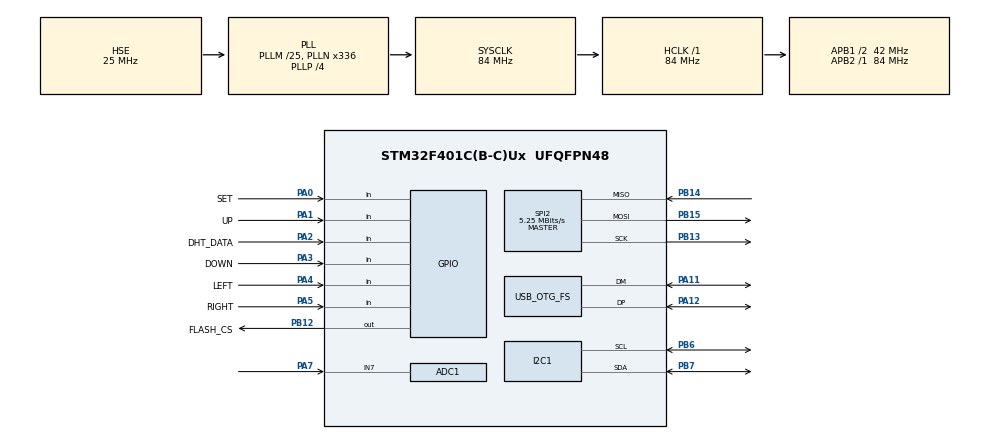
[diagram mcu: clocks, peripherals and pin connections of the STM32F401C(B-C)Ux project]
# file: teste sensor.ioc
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ADC1.Channel-0\#ChannelRegularConversion=ADC_CHANNEL_7
ADC1.Channel-1\#ChannelInjectedConversion=ADC_CHANNEL_7
ADC1.InjNumberOfConversion=1
ADC1.InjectedOffset-1\#ChannelInjectedConversion=0
ADC1.InjectedRank-1\#ChannelInjectedConversion=1
ADC1.NbrOfConversionFlag=1
ADC1.Rank-0\#ChannelRegularConversion=1
ADC1.SamplingTime-0\#ChannelRegularConversion=ADC_SAMPLETIME_3CYCLES
ADC1.SamplingTime-1\#ChannelInjectedConversion=ADC_SAMPLETIME_3CYCLES
ADC1.master=1
FATFS._MAX_SS=4096
FATFS._USE_LFN=1
Mcu.Family=STM32F4
Mcu.Name=STM32F401C(B-C)Ux
Mcu.Package=UFQFPN48
NVIC.ADC_IRQn=true\:0\:0\:false\:false\:true\:true\:true\:true
NVIC.OTG_FS_IRQn=true\:0\:0\:false\:false\:true\:false\:true\:true
NVIC.PriorityGroup=NVIC_PRIORITYGROUP_4
NVIC.TIM2_IRQn=true\:5\:0\:true\:false\:true\:true\:true\:true
PA0-WKUP.GPIO_Label=SET
PA0-WKUP.GPIO_PuPd=GPIO_PULLUP
PA0-WKUP.Signal=GPIO_Input
PA1.GPIO_Label=UP
PA1.GPIO_PuPd=GPIO_PULLUP
PA1.Signal=GPIO_Input
PA11.Mode=Host_Only
PA11.Signal=USB_OTG_FS_DM
PA12.Mode=Host_Only
PA12.Signal=USB_OTG_FS_DP
PA13.Mode=Serial_Wire
PA13.Signal=SYS_JTMS-SWDIO
PA14.Mode=Serial_Wire
PA14.Signal=SYS_JTCK-SWCLK
PA2.GPIO_Label=DHT_DATA
PA2.Signal=GPIO_Input
PA3.GPIO_Label=DOWN
PA3.GPIO_PuPd=GPIO_PULLUP
PA3.Signal=GPIO_Input
PA4.GPIO_Label=LEFT
PA4.GPIO_PuPd=GPIO_PULLUP
PA4.Signal=GPIO_Input
PA5.GPIO_Label=RIGHT
PA5.GPIO_PuPd=GPIO_PULLUP
PA5.Signal=GPIO_Input
PA7.Signal=ADCx_IN7
PB12.GPIO_Label=FLASH_CS
PB12.GPIO_Speed=GPIO_SPEED_FREQ_VERY_HIGH
PB12.PinState=GPIO_PIN_SET
PB12.Signal=GPIO_Output
PB13.Mode=Full_Duplex_Master
PB13.Signal=SPI2_SCK
PB14.Mode=Full_Duplex_Master
PB14.Signal=SPI2_MISO
PB15.Mode=Full_Duplex_Master
PB15.Signal=SPI2_MOSI
PB6.Mode=I2C
PB6.Signal=I2C1_SCL
PB7.Mode=I2C
PB7.Signal=I2C1_SDA
PH0\ -\ OSC_IN.Mode=HSE-External-Oscillator
PH0\ -\ OSC_IN.Signal=RCC_OSC_IN
PH1\ -\ OSC_OUT.Mode=HSE-External-Oscillator
PH1\ -\ OSC_OUT.Signal=RCC_OSC_OUT
ProjectManager.HeapSize=0x200
ProjectManager.StackSize=0x400
ProjectManager.TargetToolchain=STM32CubeIDE
RCC.48MHZClocksFreq_Value=48000000
RCC.AHBFreq_Value=84000000
RCC.APB1CLKDivider=RCC_HCLK_DIV2
RCC.APB1Freq_Value=42000000
RCC.APB1TimFreq_Value=84000000
RCC.APB2Freq_Value=84000000
RCC.APB2TimFreq_Value=84000000
RCC.CortexFreq_Value=84000000
RCC.HCLKFreq_Value=84000000
RCC.HSE_VALUE=25000000
RCC.HSI_VALUE=16000000
RCC.LSE_VALUE=32768
RCC.PLLM=25
RCC.PLLN=336
RCC.PLLP=RCC_PLLP_DIV4
RCC.PLLQ=7
RCC.SYSCLKFreq_VALUE=84000000
RCC.SYSCLKSource=RCC_SYSCLKSOURCE_PLLCLK
RCC.VCOOutputFreq_Value=336000000
SH.ADCx_IN7.0=ADC1_IN7,IN7
SPI2.BaudRatePrescaler=SPI_BAUDRATEPRESCALER_8
SPI2.CalculateBaudRate=5.25 MBits/s
SPI2.Direction=SPI_DIRECTION_2LINES
SPI2.Mode=SPI_MODE_MASTER
SPI2.VirtualType=VM_MASTER
TIM2.AutoReloadPreload=TIM_AUTORELOAD_PRELOAD_ENABLE
TIM2.Period=999
USB_HOST.SW_VBUS_DRIVE_MSC_FS=true
USB_HOST.USBH_HandleTypeDef=hUsbHostFS
USB_HOST.VirtualModeFS=Msc
USB_OTG_FS.VirtualMode=Host_Only
USB_OTG_FS.phy_itface=HCD_PHY_EMBEDDED
VP_FATFS_VS_USB.Mode=USB
VP_TIM2_VS_ClockSourceINT.Mode=Internal
VP_USB_HOST_VS_USB_HOST_MSC_FS.Mode=MSC_FS
board=custom

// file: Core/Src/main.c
/* USER CODE BEGIN Header */
/**
  ******************************************************************************
  * @file           :  main.c
  * @brief          : Weather Station - 30m/1h + Modo Teste + Bateria
  ******************************************************************************
  */
/* USER CODE END Header */
#include "main.h"
#include "fatfs.h"
#include "usb_host.h"
#include "i18n.h"
#include "pad20.h"

/* USER CODE BEGIN Includes */
#include "data_buffer.h"
#include "bmp180.h"
#include "dht11.h"
#include "ds3231.h"
#include "lcd_i2c.h"
#include "usb_datalogger.h"
#include "w25qxx.h"
#include <stdio.h>
#include <math.h>
#include "menu.h"
#include "usbh_core.h"
#include <string.h>
/* USER CODE END Includes */

/* USER CODE BEGIN PD */

// ✅ Config setor (4KB) - NÃO usar erase+1byte
#define CONFIG_SECTOR_ADDRESS   0x3FF000u
//#define W25Q_LOG_STATE_ADDR (W25Q32_CAPACITY - 1*W25Q32_SECTOR_SIZE) // 0x3FF000
#define CONFIG_ACQ_OFFSET       0u
#define CONFIG_LANG_OFFSET      4u
#define CONFIG_ALT_OFFSET       8u   // int16_t (2 bytes). usa 8..9
#define BATTERY_ADC_CHANNEL ADC_CHANNEL_7    // Ajuste para PA7, ADC1_IN7
#define BATTERY_VREF 3.3f
#define BATTERY_ADC_MAX 4095.0f
#define BATTERY_VOLTAGE_DIVIDER 2.0f   // Divisor 10k/10k = metade
#define BATTERY_FULL    4.2f
#define BATTERY_EMPTY   3.0f
#define DEFAULT_ALTITUDE_M  11
/* USER CODE END PD */

ADC_HandleTypeDef hadc1;
I2C_HandleTypeDef hi2c1;
SPI_HandleTypeDef hspi2;
TIM_HandleTypeDef htim2;
/* USER CODE BEGIN PV */
BMP180_t bmp180;
DHT11_t dht11;
DS3231_Time_t rtc_time;
LCD_I2C_t lcd;
USB_DataLogger_t datalogger;
W25Q_t flash;

uint32_t acquisition_interval_ms = 3600000;
uint32_t total_samples_saved = 0;
static uint32_t last_dht_read = 0;
static uint8_t last_humidity = 0;
uint32_t last_display_update = 0;
uint32_t display_update_interval = 1000;
float last_temp = 0;
float last_press_abs = 0;
float last_press_sea = 0;
uint8_t last_battery_percent = 0;
Menu_t menu;
uint8_t usb_menu_active = 0;
uint8_t usb_menu_selection = 0;
uint8_t usb_was_connected = 0;

const AcqTimeConfig_t acq_time_options[ACQ_TOTAL_OPTIONS] = {
    {ACQ_30M,  1800000,  "30m"},
    {ACQ_1H,   3600000,  "1h"}
};
AcquisitionTime_t current_acq_time = ACQ_1H;
extern ApplicationTypeDef Appli_state;

// ✅ idioma atual (persistido na flash)
uint8_t current_language = LANG_PT;
int16_t current_altitude_m = DEFAULT_ALTITUDE_M;
/* USER CODE END PV */

void SystemClock_Config(void);
static void MX_GPIO_Init(void);
static void MX_I2C1_Init(void);
static void MX_TIM2_Init(void);
static void MX_SPI2_Init(void);
static void MX_ADC1_Init(void);
void MX_USB_HOST_Process(void);

/* USER CODE BEGIN 0 */

void float_to_string(char *str, float value, uint8_t decimal_places) {
    int int_part = (int)value;
    int dec_part = (int)((value - int_part) * 100);
    if (dec_part < 0) dec_part = -dec_part;
    if (decimal_places == 1) {
        dec_part /= 10;
        sprintf(str, "%d.%d", int_part, dec_part);
    } else {
        sprintf(str, "%d.%02d", int_part, dec_part);
    }
}

float CalculateSeaLevelPressure(float pressure_hpa, float altitude_m) {
    return pressure_hpa + (altitude_m / 8.3f);
}

static void RTC_ApplyDefaultIfInvalid(void)
{
    DS3231_Time_t t;
    DS3231_GetTime(&hi2c1, &t);

    int invalid =
        (t.year < 2024 || t.year > 2099) ||
        (t.month < 1 || t.month > 12) ||
        (t.date < 1 || t.date > 31) ||
        (t.hours > 23) || (t.minutes > 59) || (t.seconds > 59);

    if (invalid) {
        DS3231_Time_t def = {0};
        def.date = 15;
        def.month = 6;
        def.year = 2026;
        def.hours = 0;
        def.minutes = 0;
        def.seconds = 0;

        DS3231_SetTime(&hi2c1, &def);

        // opcional, mas recomendado: já atualiza o que vai para o display
        rtc_time = def;
    }
}

void UpdateDisplay(DS3231_Time_t *time, float temp, float press_abs, float press_sea, uint8_t humidity, uint8_t battery_percent, USB_State_t usb_state) {
    char buffer[25];
    char value_str[12];
    LCD_SetCursor(&lcd, 0, 0);
    sprintf(buffer, "%02d/%02d/%04d %02d:%02d:%02d",
            time->date, time->month, time->year,
            time->hours, time->minutes, time->seconds);
    buffer[20] = '\0';
    LCD_Print(&lcd, buffer);

    // ===== Linha 2 =====
    LCD_SetCursor(&lcd, 0, 1);
    float_to_string(value_str, temp, 1);

    snprintf(buffer, sizeof(buffer), I18N(TXT_MAIN_LINE2_FMT, current_language),
             value_str, humidity, battery_percent);
   // while (strlen(buffer) < 20) strcat(buffer, " ");

   // buffer[20] = '\0';
    // Agora vamos imprimir: "T:<temp>" + "°C" + " resto"
    LCD_Print(&lcd, "T:");
    LCD_Print(&lcd, value_str);
    LCD_SendData(&lcd, 0);     // ° (slot 0)
    LCD_Print(&lcd, "C");

    // imprime o resto: pega a string pronta e pula o começo "T:<temp>"
    size_t prefix_len = 2 + strlen(value_str); // "T:" + tempStr
    LCD_Print(&lcd, buffer + prefix_len);

    // completa até 20 colunas
    // (mais simples: pad no buffer original e depois reimprime tudo não dá, então preenche espaço na mão)
    int used = 2 + (int)strlen(value_str) + 2 + (int)strlen(buffer + prefix_len); // +2 = ° + C
    while (used < 20) { LCD_SendData(&lcd, ' '); used++; }

    // ===== Linha 3 =====

    LCD_SetCursor(&lcd, 0, 2);
        char sea_str[12];
        char abs_str[12];
        float_to_string(sea_str, press_sea, 1);
        float_to_string(abs_str, press_abs, 1);
        snprintf(buffer, sizeof(buffer), I18N(TXT_MAIN_LINE3_FMT, current_language),
                 sea_str, abs_str);
       // while (strlen(buffer) < 20) strcat(buffer, " ");
      //  buffer[20] = '\0';
        Pad20(buffer, sizeof(buffer));
        LCD_Print(&lcd, buffer);

        // ===== Linha 4 =====
        LCD_SetCursor(&lcd, 0, 3);
        snprintf(buffer, sizeof(buffer), I18N(TXT_MAIN_LINE4_FMT, current_language),
                 (unsigned long)total_samples_saved,
                 acq_time_options[current_acq_time].display_text);
        Pad20(buffer, sizeof(buffer));
       // while (strlen(buffer) < 20) strcat(buffer, " ");
      //  buffer[20] = '\0';
        LCD_Print(&lcd, buffer);

}

// =========================
// ✅ Config Sector Helpers
// =========================
static void ConfigSector_Read(uint8_t *buf4096) {
    W25Q_ReadData(&flash, CONFIG_SECTOR_ADDRESS, buf4096, W25Q32_SECTOR_SIZE);
}

static void ConfigSector_Write(const uint8_t *buf4096) {
    W25Q_EraseSector(&flash, CONFIG_SECTOR_ADDRESS);

    for (uint32_t off = 0; off < W25Q32_SECTOR_SIZE; off += W25Q32_PAGE_SIZE) {
        W25Q_WritePage(&flash, CONFIG_SECTOR_ADDRESS + off, (uint8_t*)(buf4096 + off), W25Q32_PAGE_SIZE);
    }
}

// =========================
// ✅ Idioma na flash
// =========================
void SaveLanguageToFlash(uint8_t lang) {
    if (lang >= LANG_TOTAL) lang = LANG_PT;

    uint8_t buf[W25Q32_SECTOR_SIZE];
    ConfigSector_Read(buf);
    buf[CONFIG_LANG_OFFSET] = lang;
    ConfigSector_Write(buf);
}

uint8_t LoadLanguageFromFlash(void) {
    uint8_t buf[W25Q32_SECTOR_SIZE];
    ConfigSector_Read(buf);

    uint8_t lang = buf[CONFIG_LANG_OFFSET];
    if (lang == 0xFF || lang >= LANG_TOTAL) {
        return LANG_PT;
    }
    return lang;
}

void SaveAltitudeToFlash(int16_t alt_m)
{
    if (alt_m < 0) alt_m = 0;
    if (alt_m > 5000) alt_m = 5000;

    uint8_t buf[W25Q32_SECTOR_SIZE];
    ConfigSector_Read(buf);

    memcpy(&buf[CONFIG_ALT_OFFSET], &alt_m, sizeof(alt_m));

    ConfigSector_Write(buf);
}

int16_t LoadAltitudeFromFlash(void)
{
    uint8_t buf[W25Q32_SECTOR_SIZE];
    ConfigSector_Read(buf);

    int16_t alt_m;
    memcpy(&alt_m, &buf[CONFIG_ALT_OFFSET], sizeof(alt_m));

    // se estiver "virgem" (0xFF 0xFF = -1) ou fora da faixa
    if (alt_m < 0 || alt_m > 5000) return DEFAULT_ALTITUDE_M;
    return alt_m;
}

// =========================
// ✅ Aquisição na flash (sem apagar idioma)
// =========================
void SaveAcquisitionTimeToFlash(AcquisitionTime_t time) {
    uint8_t buf[W25Q32_SECTOR_SIZE];
    ConfigSector_Read(buf);

    buf[CONFIG_ACQ_OFFSET] = (uint8_t)time;

    ConfigSector_Write(buf);
}

AcquisitionTime_t LoadAcquisitionTimeFromFlash(void) {
    uint8_t buf[W25Q32_SECTOR_SIZE];
    ConfigSector_Read(buf);

    uint8_t data = buf[CONFIG_ACQ_OFFSET];
    if (data == 0xFF || data >= ACQ_TOTAL_OPTIONS) {
        return ACQ_1H;
    }
    return (AcquisitionTime_t)data;
}

void ApplyAcquisitionTime(AcquisitionTime_t time) {
    current_acq_time = time;
    acquisition_interval_ms = acq_time_options[time].milliseconds;
}

// FUNÇÕES DE BATERIA
float ReadBatteryVoltage(void) {
    uint32_t adc_value = 0;
    for (uint8_t i = 0; i < 10; i++) {
        HAL_ADC_Start(&hadc1);
        HAL_ADC_PollForConversion(&hadc1, 100);
        adc_value += HAL_ADC_GetValue(&hadc1);
        HAL_ADC_Stop(&hadc1);
    }
    adc_value /= 10;
    float voltage = ((float)adc_value / BATTERY_ADC_MAX) * BATTERY_VREF * BATTERY_VOLTAGE_DIVIDER;
    return voltage;
}

uint8_t CalculateBatteryPercent(float voltage) {
    if (voltage >= BATTERY_FULL) return 100;
    if (voltage <= BATTERY_EMPTY) return 0;
    float percent = ((voltage - BATTERY_EMPTY) / (BATTERY_FULL - BATTERY_EMPTY)) * 100.0f;
    return (uint8_t)percent;
}

void RunTestMode(void) {
    LCD_Clear(&lcd);
    LCD_SetCursor(&lcd, 0, 0);
    LCD_Print(&lcd, I18N(TXT_TEST_MODE_TITLE, current_language));
    LCD_SetCursor(&lcd, 0, 1);
    LCD_Print(&lcd, I18N(TXT_TEST_MODE_SUBTITLE, current_language));
    LCD_SetCursor(&lcd, 0, 2);
    LCD_Print(&lcd, I18N(TXT_STARTING, current_language));
    HAL_Delay(2000);

    LCD_Clear(&lcd);
    LCD_SetCursor(&lcd, 0, 0);
    LCD_Print(&lcd, I18N(TXT_TEST_MODE_TITLE, current_language));
    uint32_t last_sample_time = HAL_GetTick();

    // sempre sobrescreve o teste antigo
    W25Q_TestReset(&flash);

    for (uint8_t i = 0; i < 10; i++) {
        if (i > 0) {
            while ((HAL_GetTick() - last_sample_time) < 5000) {
                HAL_Delay(10);
            }
        }
        last_sample_time = HAL_GetTick();

        float temp = BMP180_ReadTemperature(&bmp180);
        float pressure = BMP180_ReadPressure(&bmp180);

        uint32_t now = HAL_GetTick();
        uint8_t humidity = last_humidity;
        if (now - last_dht_read >= 5000) {
            if (DHT11_Read(&dht11)) {
                humidity = dht11.humidity;
                last_humidity = humidity;
            }
            last_dht_read = now;
        }

        float battery_voltage = ReadBatteryVoltage();
        uint8_t battery_percent = CalculateBatteryPercent(battery_voltage);
        last_battery_percent = battery_percent;

        DS3231_Time_t current_time;
        DS3231_GetTime(&hi2c1, &current_time);

        DataSample_t sample;
        sample.temperature = temp;
        sample.pressure = pressure;
        sample.humidity = humidity;
        sample.battery_percent = battery_percent;
        memcpy(&sample.timestamp, &current_time, sizeof(DS3231_Time_t));

        W25Q_WriteTestSample(&flash, (uint8_t*)&sample, sizeof(DataSample_t));
        W25Q_TestState_Save(&flash);

        char msg[25];

        LCD_SetCursor(&lcd, 0, 1);
        snprintf(msg, sizeof(msg), I18N(TXT_SAMPLE_FMT, current_language), (int)(i + 1));
      //  while (strlen(msg) < 20) strcat(msg, " ");
       // msg[20] = '\0';
        Pad20(msg, sizeof(msg));
        LCD_Print(&lcd, msg);

      /*  LCD_SetCursor(&lcd, 0, 2);
        snprintf(msg, sizeof(msg), "T: %.1fC P:%.1fhPa", temp, pressure);
       // while (strlen(msg) < 20) strcat(msg, " ");
       // msg[20] = '\0';
        Pad20(msg, sizeof(msg));
        LCD_Print(&lcd, msg);*/

        LCD_SetCursor(&lcd, 0, 2);

        char left[25];
        char right[25];

        snprintf(left, sizeof(left), "T:%.1f", temp);
        snprintf(right, sizeof(right), "C P:%.1fhPa", pressure);

        // imprime "T: 25.3"
        LCD_Print(&lcd, left);

        // imprime o char custom (slot 0)
        LCD_SendData(&lcd, 0);   // <-- esse é o "°"

        // imprime "C P:1013.2hPa"
        LCD_Print(&lcd, right);

        // completa com espaços até 20 colunas (opcional)
        char line[25];
        snprintf(line, sizeof(line), "%s", ""); // só pra usar Pad20 se você quiser em uma linha única

        LCD_SetCursor(&lcd, 0, 3);
        snprintf(msg, sizeof(msg), "H:%d%% B:%d%% ", humidity, battery_percent);
       // while (strlen(msg) < 20) strcat(msg, " ");
       // msg[20] = '\0';
        Pad20(msg, sizeof(msg));
        LCD_Print(&lcd, msg);
    }

    LCD_Clear(&lcd);
    LCD_SetCursor(&lcd, 0, 1);
    LCD_Print(&lcd, I18N(TXT_TEST_DONE, current_language));
    LCD_SetCursor(&lcd, 0, 2);
    LCD_Print(&lcd, I18N(TXT_TEST_OK_10, current_language));

    HAL_Delay(3000);
    menu.state = MENU_STATE_IDLE;
    LCD_Clear(&lcd);
}

/* USER CODE END 0 */

int main(void)
{
  HAL_Init();
  SystemClock_Config();
  MX_GPIO_Init();
  MX_I2C1_Init();
  MX_FATFS_Init();
  MX_USB_HOST_Init();
  MX_TIM2_Init();
  MX_SPI2_Init();
  MX_ADC1_Init();

  /* USER CODE BEGIN 2 */

  // LCD / RTC init inicial
  LCD_Init(&lcd, &hi2c1, 20, 4); LCD_Clear(&lcd); LCD_Backlight(&lcd, 1);
  // Grau "°" (5x8). Ajuste se quiser mais redondo.
  static const uint8_t DEGREE_CHAR[8] = {
      0b00110,
      0b01001,
      0b01001,
      0b00110,
      0b00000,
      0b00000,
      0b00000,
      0b00000
  };

  LCD_CreateChar(&lcd, 0, DEGREE_CHAR); // salva no slot 0

  DS3231_Init(&hi2c1);

  LCD_SetCursor(&lcd, 0, 0); LCD_Print(&lcd, "    <  CIDEPE  >  ");
  LCD_SetCursor(&lcd, 0, 1); LCD_Print(&lcd, "       EQ410A   ");
  LCD_SetCursor(&lcd, 0, 2); LCD_Print(&lcd, "       v1.0  ");
  HAL_Delay(2000);

  LCD_Clear(&lcd); LCD_SetCursor(&lcd, 0, 0); LCD_Print(&lcd, "Init Flash W25Q32...");
  W25Q_Init(&flash, &hspi2, GPIOB, GPIO_PIN_12); HAL_Delay(50);

  // ✅ carrega idioma primeiro (usa setor config)

  current_language = LoadLanguageFromFlash();
  current_altitude_m = LoadAltitudeFromFlash();

  // ✅ agora sim inicializa menu (pra pegar idioma atual)
  Menu_Init(&menu); HAL_Delay(1000);

  // carregar estado normal e teste (se não existir, zera)
  if (!W25Q_LogState_Load(&flash)) {
      flash.current_address = 0;
      flash.total_samples = 0;
  }
  if (!W25Q_TestState_Load(&flash)) {
      flash.test_current_address = W25Q_TEST_DATA_ADDR;
      flash.test_total_samples = 0;
  }

  total_samples_saved = W25Q_GetTotalSamples(&flash);

  uint8_t cmd_reset1 = 0x66; uint8_t cmd_reset2 = 0x99;
  HAL_GPIO_WritePin(GPIOB, GPIO_PIN_12, GPIO_PIN_RESET);
  HAL_SPI_Transmit(&hspi2, &cmd_reset1, 1, 100);
  HAL_GPIO_WritePin(GPIOB, GPIO_PIN_12, GPIO_PIN_SET); HAL_Delay(10);
  HAL_GPIO_WritePin(GPIOB, GPIO_PIN_12, GPIO_PIN_RESET);
  HAL_SPI_Transmit(&hspi2, &cmd_reset2, 1, 100);
  HAL_GPIO_WritePin(GPIOB, GPIO_PIN_12, GPIO_PIN_SET); HAL_Delay(100);

  uint8_t jedec_cmd = 0x9F;
  uint8_t jedec_data[3] = {0};
  HAL_GPIO_WritePin(GPIOB, GPIO_PIN_12, GPIO_PIN_RESET);
  HAL_SPI_Transmit(&hspi2, &jedec_cmd, 1, 100);
  HAL_SPI_Receive(&hspi2, jedec_data, 3, 100);
  HAL_GPIO_WritePin(GPIOB, GPIO_PIN_12, GPIO_PIN_SET);

  LCD_SetCursor(&lcd, 0, 1);
  if (jedec_data[0] == 0xEF && jedec_data[2] == 0x16) {
      LCD_Print(&lcd, "W25Q32 OK!   (4MB)");
  } else if (jedec_data[0] == 0xEF && jedec_data[2] == 0x15) {
      LCD_Print(&lcd, "W25Q16 OK!  (2MB)");
  } else if (jedec_data[0] == 0xEF) {
      char msg[25]; sprintf(msg, " Winbond 0x%02X OK!   ", jedec_data[2]); LCD_Print(&lcd, msg);
  } else {
      char msg[25]; sprintf(msg, " Flash: %02X %02X %02X", jedec_data[0], jedec_data[1], jedec_data[2]); LCD_Print(&lcd, msg);
  }
  HAL_Delay(2000);

  LCD_SetCursor(&lcd, 0, 2); LCD_Print(&lcd, I18N(TXT_BOOT_LOADING_CONFIG, current_language));
  current_acq_time = LoadAcquisitionTimeFromFlash();
  ApplyAcquisitionTime(current_acq_time);
  HAL_Delay(100);
  char config_msg[25];

 // sprintf(config_msg, "Modo: %s        ", acq_time_options[current_acq_time].display_text);

  snprintf(config_msg, sizeof(config_msg),
           I18N(TXT_BOOT_MODE_FMT, current_language),
           acq_time_options[current_acq_time].display_text);
    config_msg[20] = '\0';

  LCD_SetCursor(&lcd, 0, 2); LCD_Print(&lcd, config_msg);
  HAL_Delay(2000);

  LCD_Clear(&lcd); LCD_SetCursor(&lcd, 0, 0); LCD_Print(&lcd, I18N(TXT_BOOT_INIT_RTC, current_language));
  if (! DS3231_Init(&hi2c1)) {
	  LCD_SetCursor(&lcd, 0, 1); LCD_Print(&lcd, I18N(TXT_BOOT_RTC_ERR, current_language));
    HAL_Delay(1000);
  } else {
	  LCD_SetCursor(&lcd, 0, 1);
	  LCD_Print(&lcd, I18N(TXT_BOOT_RTC_OK, current_language));
    HAL_Delay(1000);
    RTC_ApplyDefaultIfInvalid();
  }

  LCD_SetCursor(&lcd, 0, 2); LCD_Print(&lcd, I18N(TXT_BOOT_INIT_BMP, current_language));
  if (!BMP180_Init(&bmp180, &hi2c1, 3)) {
      LCD_Clear(&lcd); LCD_SetCursor(&lcd, 0, 1); LCD_Print(&lcd, I18N(TXT_BOOT_BMP_ERR, current_language));
      while(1) { HAL_Delay(100); }

  }
  LCD_SetCursor(&lcd, 0, 2); LCD_Print(&lcd, I18N(TXT_BOOT_BMP_OK, current_language)); HAL_Delay(1000);

  LCD_SetCursor(&lcd, 0, 3); LCD_Print(&lcd, I18N(TXT_BOOT_INIT_DHT, current_language));
  DHT11_Init(&dht11, GPIOA, GPIO_PIN_2);
  LCD_SetCursor(&lcd, 0, 3); LCD_Print(&lcd, I18N(TXT_BOOT_DHT_OK, current_language)); HAL_Delay(1000);

  USB_DataLogger_Init(&datalogger, 5000);

  LCD_Clear(&lcd);
  LCD_SetCursor(&lcd, 0, 1);
  LCD_Print(&lcd, I18N(TXT_SYSTEM_READY, current_language));
  HAL_Delay(1500);
  LCD_Clear(&lcd);

  LCD_SetCursor(&lcd, 0, 1); LCD_Print(&lcd, I18N(TXT_FIRST_ACQ, current_language));
  LCD_SetCursor(&lcd, 0, 2); LCD_Print(&lcd, I18N(TXT_WAIT, current_language));

  float temp = BMP180_ReadTemperature(&bmp180);
  float pressure = BMP180_ReadPressure(&bmp180);
  uint8_t humidity = 0;
  if (DHT11_Read(&dht11)) {
      humidity = dht11.humidity;
      last_humidity = humidity;
  }
  last_dht_read = HAL_GetTick();
  float battery_voltage = ReadBatteryVoltage();
  last_battery_percent = CalculateBatteryPercent(battery_voltage);

  DS3231_Time_t current_time;
  DS3231_GetTime(&hi2c1, &current_time);

  last_temp = temp;
  last_press_abs = pressure;
 // last_press_sea = CalculateSeaLevelPressure(pressure, LOCAL_ALTITUDE_M);
  last_press_sea = CalculateSeaLevelPressure(pressure, (float)current_altitude_m);
  DataSample_t sample;
  sample.temperature = temp;
  sample.pressure = pressure;
  sample.humidity = humidity;
  sample.battery_percent = last_battery_percent;
  memcpy(&sample.timestamp, &current_time, sizeof(DS3231_Time_t));

  W25Q_WriteDataSample(&flash, (uint8_t*)&sample, sizeof(DataSample_t));
  total_samples_saved++;
  if ((total_samples_saved % 10) == 0) {
      W25Q_LogState_Save(&flash);
  }

  LCD_SetCursor(&lcd, 0, 2); LCD_Print(&lcd, "      OK!           ");
  HAL_Delay(1000); LCD_Clear(&lcd);

  static uint32_t last_acquisition_time = 0;
  static uint8_t acquisition_in_progress = 0;
  static uint32_t last_display_sensor_read = 0;
  last_acquisition_time = HAL_GetTick();

  while (1)
  {
    MX_USB_HOST_Process();
    uint32_t now = HAL_GetTick();

    // Aquisição periódica
    if (!acquisition_in_progress && (now - last_acquisition_time) >= acquisition_interval_ms) {
      acquisition_in_progress = 1; last_acquisition_time = now;

      float temp = BMP180_ReadTemperature(&bmp180);
      float pressure = BMP180_ReadPressure(&bmp180);

      uint8_t humidity = last_humidity;
      if (now - last_dht_read >= 5000) {
        uint8_t dht_ok = DHT11_Read(&dht11);
        if (dht_ok) {
            humidity = dht11.humidity;
            last_humidity = humidity;
        }
        last_dht_read = now;
      }

      float battery_voltage = ReadBatteryVoltage();
      uint8_t battery_percent = CalculateBatteryPercent(battery_voltage);
      last_battery_percent = battery_percent;

      DS3231_Time_t current_time;
      DS3231_GetTime(&hi2c1, &current_time);

      last_temp = temp;
      last_press_abs = pressure;
     // last_press_sea = CalculateSeaLevelPressure(pressure, LOCAL_ALTITUDE_M);
      last_press_sea = CalculateSeaLevelPressure(pressure, (float)current_altitude_m);

      DataSample_t sample;
      sample.temperature = temp;
      sample.pressure = pressure;
      sample.humidity = humidity;
      sample.battery_percent = battery_percent;
      memcpy(&sample.timestamp, &current_time, sizeof(DS3231_Time_t));

      W25Q_WriteDataSample(&flash, (uint8_t*)&sample, sizeof(DataSample_t));
      total_samples_saved++;

      if ((total_samples_saved % 10) == 0) {
          W25Q_LogState_Save(&flash);
      }

      acquisition_in_progress = 0;
    }

    // Atualização dos sensores para o display (2s)
    if (Menu_IsIdle(&menu) && (now - last_display_sensor_read) >= 2000) {
      last_display_sensor_read = now;
      float temp = BMP180_ReadTemperature(&bmp180);
      float pressure = BMP180_ReadPressure(&bmp180);

      uint8_t humidity = last_humidity;
      if (now - last_dht_read >= 5000) {
        uint8_t dht_ok = DHT11_Read(&dht11);
        if (dht_ok) {
            humidity = dht11.humidity;
            last_humidity = humidity;
        }
        last_dht_read = now;
      }

      float battery_voltage = ReadBatteryVoltage();
      last_battery_percent = CalculateBatteryPercent(battery_voltage);

      last_temp = temp;
      last_press_abs = pressure;
      //last_press_sea = CalculateSeaLevelPressure(pressure, LOCAL_ALTITUDE_M);
      last_press_sea = CalculateSeaLevelPressure(pressure, (float)current_altitude_m);
    }

    USB_DataLogger_Process(&datalogger);

    if (Appli_state == APPLICATION_READY && !usb_was_connected && !usb_menu_active) {
      usb_was_connected = 1;
      usb_menu_active = 1;
      usb_menu_selection = 0;
      LCD_Clear(&lcd); LCD_SetCursor(&lcd, 0, 0);
      LCD_Print(&lcd, I18N(TXT_USB_DETECTED, current_language));
    }

    if (Appli_state != APPLICATION_READY) {
      usb_was_connected = 0;
      if (usb_menu_active) {
        usb_menu_active = 0; LCD_Clear(&lcd);
      }
    }

    if (usb_menu_active) {
      LCD_SetCursor(&lcd, 0, 2);
      if (usb_menu_selection == 0) LCD_Print(&lcd, I18N(TXT_USB_MENU_TRANSFER_SEL, current_language));
      else                         LCD_Print(&lcd, I18N(TXT_USB_MENU_TRANSFER, current_language));
      LCD_SetCursor(&lcd, 0, 3);
      if (usb_menu_selection == 1) LCD_Print(&lcd, I18N(TXT_USB_MENU_CANCEL_SEL, current_language));
      else                         LCD_Print(&lcd, I18N(TXT_USB_MENU_CANCEL, current_language));
      static uint8_t btn_up_pressed = 0;

      if (HAL_GPIO_ReadPin(GPIOA, GPIO_PIN_1) == GPIO_PIN_RESET && !btn_up_pressed) {
        btn_up_pressed = 1;
        if (usb_menu_selection > 0) usb_menu_selection--;
      }
      if (HAL_GPIO_ReadPin(GPIOA, GPIO_PIN_1) == GPIO_PIN_SET) btn_up_pressed = 0;

      static uint8_t btn_down_pressed = 0;
      if (HAL_GPIO_ReadPin(GPIOA, GPIO_PIN_3) == GPIO_PIN_RESET && !btn_down_pressed) {
        btn_down_pressed = 1;
        if (usb_menu_selection < 1) usb_menu_selection++;
      }
      if (HAL_GPIO_ReadPin(GPIOA, GPIO_PIN_3) == GPIO_PIN_SET) btn_down_pressed = 0;

      static uint8_t btn_set_pressed = 0;
      if (HAL_GPIO_ReadPin(GPIOA, GPIO_PIN_0) == GPIO_PIN_RESET && !btn_set_pressed) {
        btn_set_pressed = 1;

        if (usb_menu_selection == 0) {
          uint32_t total = W25Q_GetTotalSamples(&flash);
          uint32_t total_test = W25Q_GetTestTotalSamples(&flash);

          if (total == 0 && total_test == 0) {
            LCD_Clear(&lcd); LCD_SetCursor(&lcd, 0, 1);
            LCD_Print(&lcd, I18N(TXT_NO_DATA, current_language));
            HAL_Delay(2000);
          } else {
            LCD_Clear(&lcd);
            LCD_SetCursor(&lcd, 0, 0);
            LCD_Print(&lcd, I18N(TXT_EXPORTING, current_language));
            LCD_SetCursor(&lcd, 0, 1);
            char export_msg[30];
            sprintf(export_msg, " Normal:%lu Test:%lu", total, total_test);
            LCD_Print(&lcd, export_msg);
            LCD_SetCursor(&lcd, 0, 2);
            LCD_Print(&lcd, I18N(TXT_PLEASE_WAIT, current_language));
            uint8_t ok1 = 1;
            uint8_t ok2 = 1;

            if (total > 0) ok1 = USB_DataLogger_ExportFlashToCSV(&datalogger);
            if (total_test > 0) ok2 = USB_DataLogger_ExportTestFlashToCSV(&datalogger);

            LCD_Clear(&lcd); LCD_SetCursor(&lcd, 0, 1);

            if (ok1 && ok2) LCD_Print(&lcd, I18N(TXT_SUCCESS, current_language));
            else LCD_Print(&lcd, I18N(TXT_USB_ERROR, current_language));

            HAL_Delay(3000);
          }
        }

        usb_menu_active = 0; LCD_Clear(&lcd);
      }
      if (HAL_GPIO_ReadPin(GPIOA, GPIO_PIN_0) == GPIO_PIN_SET) btn_set_pressed = 0;
    } else {
      Menu_Process(&menu, &lcd, &hi2c1, &rtc_time);
      if (menu.state == MENU_STATE_TEST_MODE) { RunTestMode(); }

      if (Menu_IsIdle(&menu)) {
        if ((now - last_display_update) >= display_update_interval) {
          last_display_update = now;
          DS3231_GetTime(&hi2c1, &rtc_time);
          UpdateDisplay(&rtc_time, last_temp, last_press_abs, last_press_sea,
                        last_humidity, last_battery_percent, datalogger.state);
        }
      }
    }

    HAL_Delay(10);
  }
  /* USER CODE END 2 */
}

/* (restante MX_*_Init e Error_Handler igual ao seu arquivo atual) */

/* Insira aqui suas funções MX_*_Init exatamente igual ao CubeMX gerou ou ao seu arquivo anterior! */
void SystemClock_Config(void)
{
  RCC_OscInitTypeDef RCC_OscInitStruct = {0};
  RCC_ClkInitTypeDef RCC_ClkInitStruct = {0};

  __HAL_RCC_PWR_CLK_ENABLE();
  __HAL_PWR_VOLTAGESCALING_CONFIG(PWR_REGULATOR_VOLTAGE_SCALE2);

  RCC_OscInitStruct.OscillatorType = RCC_OSCILLATORTYPE_HSE;
  RCC_OscInitStruct.HSEState = RCC_HSE_ON;
  RCC_OscInitStruct.PLL.PLLState = RCC_PLL_ON;
  RCC_OscInitStruct.PLL.PLLSource = RCC_PLLSOURCE_HSE;
  RCC_OscInitStruct.PLL.PLLM = 25;
  RCC_OscInitStruct.PLL.PLLN = 336;
  RCC_OscInitStruct.PLL.PLLP = RCC_PLLP_DIV4;
  RCC_OscInitStruct.PLL.PLLQ = 7;
  if (HAL_RCC_OscConfig(&RCC_OscInitStruct) != HAL_OK)
  {
    Error_Handler();
  }

  RCC_ClkInitStruct.ClockType = RCC_CLOCKTYPE_HCLK|RCC_CLOCKTYPE_SYSCLK
                              |RCC_CLOCKTYPE_PCLK1|RCC_CLOCKTYPE_PCLK2;
  RCC_ClkInitStruct.SYSCLKSource = RCC_SYSCLKSOURCE_PLLCLK;
  RCC_ClkInitStruct.AHBCLKDivider = RCC_SYSCLK_DIV1;
  RCC_ClkInitStruct.APB1CLKDivider = RCC_HCLK_DIV2;
  RCC_ClkInitStruct.APB2CLKDivider = RCC_HCLK_DIV1;

  if (HAL_RCC_ClockConfig(&RCC_ClkInitStruct, FLASH_LATENCY_2) != HAL_OK)
  {
    Error_Handler();
  }
}

static void MX_I2C1_Init(void)
{
  hi2c1.Instance = I2C1;
  hi2c1.Init.ClockSpeed = 100000;
  hi2c1.Init.DutyCycle = I2C_DUTYCYCLE_2;
  hi2c1.Init.OwnAddress1 = 0;
  hi2c1.Init.AddressingMode = I2C_ADDRESSINGMODE_7BIT;
  hi2c1.Init.DualAddressMode = I2C_DUALADDRESS_DISABLE;
  hi2c1.Init.OwnAddress2 = 0;
  hi2c1.Init.GeneralCallMode = I2C_GENERALCALL_DISABLE;
  hi2c1.Init.NoStretchMode = I2C_NOSTRETCH_DISABLE;
  if (HAL_I2C_Init(&hi2c1) != HAL_OK)
  {
    Error_Handler();
  }
}

static void MX_SPI2_Init(void)
{
  hspi2.Instance = SPI2;
  hspi2.Init.Mode = SPI_MODE_MASTER;
  hspi2.Init.Direction = SPI_DIRECTION_2LINES;
  hspi2.Init.DataSize = SPI_DATASIZE_8BIT;
  hspi2.Init.CLKPolarity = SPI_POLARITY_LOW;
  hspi2.Init.CLKPhase = SPI_PHASE_1EDGE;
  hspi2.Init.NSS = SPI_NSS_SOFT;
  hspi2.Init.BaudRatePrescaler = SPI_BAUDRATEPRESCALER_8;
  hspi2.Init.FirstBit = SPI_FIRSTBIT_MSB;
  hspi2.Init.TIMode = SPI_TIMODE_DISABLE;
  hspi2.Init.CRCCalculation = SPI_CRCCALCULATION_DISABLE;
  hspi2.Init.CRCPolynomial = 10;
  if (HAL_SPI_Init(&hspi2) != HAL_OK)
  {
    Error_Handler();
  }
}

static void MX_TIM2_Init(void)
{
  TIM_ClockConfigTypeDef sClockSourceConfig = {0};
  TIM_MasterConfigTypeDef sMasterConfig = {0};

  htim2.Instance = TIM2;
  htim2.Init.Prescaler = 41999;
  htim2.Init.CounterMode = TIM_COUNTERMODE_UP;
  htim2.Init.Period = 999;
  htim2.Init.ClockDivision = TIM_CLOCKDIVISION_DIV1;
  htim2.Init.AutoReloadPreload = TIM_AUTORELOAD_PRELOAD_ENABLE;
  if (HAL_TIM_Base_Init(&htim2) != HAL_OK)
  {
    Error_Handler();
  }
  sClockSourceConfig.ClockSource = TIM_CLOCKSOURCE_INTERNAL;
  if (HAL_TIM_ConfigClockSource(&htim2, &sClockSourceConfig) != HAL_OK)
  {
    Error_Handler();
  }
  sMasterConfig.MasterOutputTrigger = TIM_TRGO_RESET;
  sMasterConfig.MasterSlaveMode = TIM_MASTERSLAVEMODE_DISABLE;
  if (HAL_TIMEx_MasterConfigSynchronization(&htim2, &sMasterConfig) != HAL_OK)
  {
    Error_Handler();
  }
}

static void MX_GPIO_Init(void)
{
  GPIO_InitTypeDef GPIO_InitStruct = {0};

  __HAL_RCC_GPIOH_CLK_ENABLE();
  __HAL_RCC_GPIOA_CLK_ENABLE();
  __HAL_RCC_GPIOB_CLK_ENABLE();

  HAL_GPIO_WritePin(GPIOB, GPIO_PIN_12, GPIO_PIN_SET);

  GPIO_InitStruct.Pin = SET_Pin|UP_Pin|DOWN_Pin|LEFT_Pin|RIGHT_Pin;
  GPIO_InitStruct.Mode = GPIO_MODE_INPUT;
  GPIO_InitStruct.Pull = GPIO_PULLUP;
  HAL_GPIO_Init(GPIOA, &GPIO_InitStruct);

  GPIO_InitStruct.Pin = DHT_DATA_Pin;
  GPIO_InitStruct.Mode = GPIO_MODE_INPUT;
  GPIO_InitStruct.Pull = GPIO_NOPULL;
  HAL_GPIO_Init(DHT_DATA_GPIO_Port, &GPIO_InitStruct);

  GPIO_InitStruct.Pin = GPIO_PIN_12;
  GPIO_InitStruct.Mode = GPIO_MODE_OUTPUT_PP;
  GPIO_InitStruct.Pull = GPIO_NOPULL;
  GPIO_InitStruct.Speed = GPIO_SPEED_FREQ_VERY_HIGH;
  HAL_GPIO_Init(GPIOB, &GPIO_InitStruct);

  GPIO_InitStruct.Pin = GPIO_PIN_2;
  GPIO_InitStruct.Mode = GPIO_MODE_INPUT;
  GPIO_InitStruct.Pull = GPIO_NOPULL;
  HAL_GPIO_Init(GPIOA, &GPIO_InitStruct);

  GPIO_InitStruct.Pin = GPIO_PIN_0 | GPIO_PIN_1 | GPIO_PIN_3 | GPIO_PIN_4 | GPIO_PIN_5;
  GPIO_InitStruct.Mode = GPIO_MODE_INPUT;
  GPIO_InitStruct.Pull = GPIO_PULLUP;
  HAL_GPIO_Init(GPIOA, &GPIO_InitStruct);
}

static void MX_ADC1_Init(void)
{
  ADC_ChannelConfTypeDef sConfig = {0};

  hadc1.Instance = ADC1;
  hadc1.Init.ClockPrescaler = ADC_CLOCK_SYNC_PCLK_DIV4;
  hadc1.Init.Resolution = ADC_RESOLUTION_12B;
  hadc1.Init.ScanConvMode = DISABLE;
  hadc1.Init.ContinuousConvMode = DISABLE;
  hadc1.Init.DiscontinuousConvMode = DISABLE;
  hadc1.Init.ExternalTrigConvEdge = ADC_EXTERNALTRIGCONVEDGE_NONE;
  hadc1.Init.ExternalTrigConv = ADC_SOFTWARE_START;
  hadc1.Init.DataAlign = ADC_DATAALIGN_RIGHT;
  hadc1.Init.NbrOfConversion = 1;
  hadc1.Init.DMAContinuousRequests = DISABLE;
  hadc1.Init.EOCSelection = ADC_EOC_SINGLE_CONV;
  if (HAL_ADC_Init(&hadc1) != HAL_OK)
  {
    Error_Handler();
  }

  sConfig.Channel = BATTERY_ADC_CHANNEL;
  sConfig.Rank = 1;
  sConfig.SamplingTime = ADC_SAMPLETIME_3CYCLES;
  if (HAL_ADC_ConfigChannel(&hadc1, &sConfig) != HAL_OK)
  {
    Error_Handler();
  }
}

void Error_Handler(void)
{
  __disable_irq();
  while (1)
  {
  }
}
